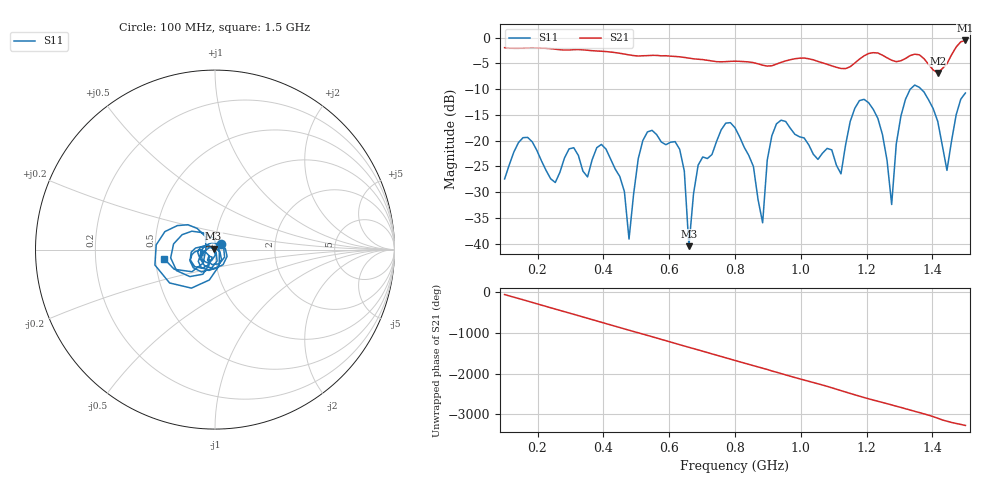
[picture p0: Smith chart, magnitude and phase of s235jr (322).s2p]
! NanoVNA-App
! Date: 2025-09-25 15:06:40
! Start: 100MHz Stop: 1,5GHz Points: 101
! S-Parameter data: F S11 S21 S12 S22
# Hz S RI R 50
!  Frequency  S11_Real  S11_Imag  S21_Real  S21_Imag  S12_Real  S12_Imag  S22_Real  S22_Imag
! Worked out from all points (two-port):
!   101 points, 100 MHz to 1.5 GHz, reference 50 ohm
!   highest |S21| = -0.56 dB at 1.5 GHz (marker M1); lowest = -6.9 dB at 1.416 GHz (marker M2)
!   |S21| within 3 dB of the highest: start of sweep to 502.4 MHz; 512.2 MHz to 595.5 MHz (83.25 MHz wide, 15 % of centre) (the widest 2 of 5)
!   lowest |S11| = -40.5 dB at 660 MHz (marker M3), VSWR 1.02, Z = 49.2 + j0.523 ohm
!   |S11| at or under -10 dB: start of sweep to 1.333 GHz; 1.365 GHz to end of sweep
!   S12 and S22 are empty: the file has one direction only
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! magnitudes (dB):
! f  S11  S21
! 100 MHz  -27.5  -2.0
! 156 MHz  -19.4  -2.0
! 338 MHz  -25.9  -2.4
! 408 MHz  -21.7  -2.7
! 478 MHz  -39.1  -3.4
! 520 MHz  -20.0  -3.5
! 576 MHz  -20.3  -3.6
! 632 MHz  -21.7  -3.7
! 660 MHz  -40.5  -4.0
! 688 MHz  -24.8  -4.2
! 800 MHz  -17.5  -4.6
! 884 MHz  -36.0  -5.4
! 926 MHz  -16.8  -5.2
! 1.038 GHz  -22.7  -4.3
! 1.122 GHz  -26.5  -6.0
! 1.192 GHz  -12.0  -3.6
! 1.248 GHz  -18.8  -3.4
! 1.276 GHz  -32.4  -4.4
! 1.332 GHz  -10.1  -3.5
! 1.416 GHz  -16.3  -6.9
! 1.444 GHz  -25.8  -5.1
! 1.5 GHz  -10.8  -0.6
